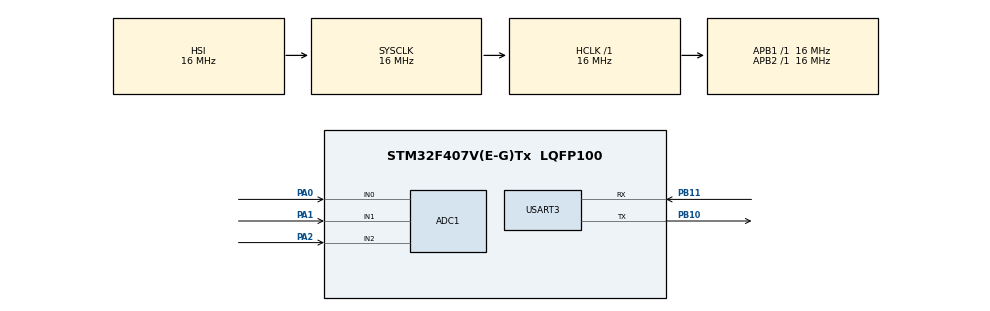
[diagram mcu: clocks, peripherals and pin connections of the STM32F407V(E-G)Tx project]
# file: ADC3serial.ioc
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ADC1.Channel-0\#ChannelRegularConversion=ADC_CHANNEL_0
ADC1.Channel-1\#ChannelRegularConversion=ADC_CHANNEL_1
ADC1.Channel-2\#ChannelRegularConversion=ADC_CHANNEL_2
ADC1.ContinuousConvMode=ENABLE
ADC1.DMAContinuousRequests=ENABLE
ADC1.NbrOfConversion=3
ADC1.NbrOfConversionFlag=1
ADC1.Rank-0\#ChannelRegularConversion=1
ADC1.Rank-1\#ChannelRegularConversion=2
ADC1.Rank-2\#ChannelRegularConversion=3
ADC1.SamplingTime-0\#ChannelRegularConversion=ADC_SAMPLETIME_144CYCLES
ADC1.SamplingTime-1\#ChannelRegularConversion=ADC_SAMPLETIME_144CYCLES
ADC1.SamplingTime-2\#ChannelRegularConversion=ADC_SAMPLETIME_144CYCLES
ADC1.ScanConvMode=ENABLE
ADC1.master=1
Dma.ADC1.0.Direction=DMA_PERIPH_TO_MEMORY
Dma.ADC1.0.FIFOMode=DMA_FIFOMODE_DISABLE
Dma.ADC1.0.Instance=DMA2_Stream0
Dma.ADC1.0.MemDataAlignment=DMA_MDATAALIGN_HALFWORD
Dma.ADC1.0.MemInc=DMA_MINC_ENABLE
Dma.ADC1.0.Mode=DMA_CIRCULAR
Dma.ADC1.0.PeriphDataAlignment=DMA_PDATAALIGN_HALFWORD
Dma.ADC1.0.PeriphInc=DMA_PINC_DISABLE
Dma.ADC1.0.Priority=DMA_PRIORITY_LOW
Dma.Request0=ADC1
Mcu.Family=STM32F4
Mcu.Name=STM32F407V(E-G)Tx
Mcu.Package=LQFP100
NVIC.DMA2_Stream0_IRQn=true\:0\:0\:false\:false\:true
NVIC.PriorityGroup=NVIC_PRIORITYGROUP_4
PA0-WKUP.Signal=ADCx_IN0
PA1.Signal=ADCx_IN1
PA2.Signal=ADCx_IN2
PB10.Mode=Asynchronous
PB10.Signal=USART3_TX
PB11.Mode=Asynchronous
PB11.Signal=USART3_RX
ProjectManager.HeapSize=0x200
ProjectManager.StackSize=0x400
ProjectManager.TargetToolchain=TrueSTUDIO
RCC.AHBFreq_Value=16000000
RCC.APB1Freq_Value=16000000
RCC.APB2Freq_Value=16000000
RCC.CortexFreq_Value=16000000
RCC.HSE_VALUE=25000000
RCC.HSI_VALUE=16000000
RCC.LSE_VALUE=32768
RCC.SYSCLKFreq_VALUE=16000000
RCC.VCOOutputFreq_Value=192000000
SH.ADCx_IN0.0=ADC1_IN0,IN0
SH.ADCx_IN1.0=ADC1_IN1,IN1
SH.ADCx_IN2.0=ADC1_IN2,IN2
USART3.VirtualMode=VM_ASYNC
board=ADC3serial

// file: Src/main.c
/**
  ******************************************************************************
  * File Name          : main.c
  * Description        : Main program body
  ******************************************************************************
  ** This notice applies to any and all portions of this file
  * that are not between comment pairs USER CODE BEGIN and
  * USER CODE END. Other portions of this file, whether
  * inserted by the user or by software development tools
  * are owned by their respective copyright owners.
  *
  * COPYRIGHT(c) 2017 STMicroelectronics
  *
  * Redistribution and use in source and binary forms, with or without modification,
  * are permitted provided that the following conditions are met:
  *   1. Redistributions of source code must retain the above copyright notice,
  *      this list of conditions and the following disclaimer.
  *   2. Redistributions in binary form must reproduce the above copyright notice,
  *      this list of conditions and the following disclaimer in the documentation
  *      and/or other materials provided with the distribution.
  *   3. Neither the name of STMicroelectronics nor the names of its contributors
  *      may be used to endorse or promote products derived from this software
  *      without specific prior written permission.
  *
  * THIS SOFTWARE IS PROVIDED BY THE COPYRIGHT HOLDERS AND CONTRIBUTORS "AS IS"
  * AND ANY EXPRESS OR IMPLIED WARRANTIES, INCLUDING, BUT NOT LIMITED TO, THE
  * IMPLIED WARRANTIES OF MERCHANTABILITY AND FITNESS FOR A PARTICULAR PURPOSE ARE
  * DISCLAIMED. IN NO EVENT SHALL THE COPYRIGHT HOLDER OR CONTRIBUTORS BE LIABLE
  * FOR ANY DIRECT, INDIRECT, INCIDENTAL, SPECIAL, EXEMPLARY, OR CONSEQUENTIAL
  * DAMAGES (INCLUDING, BUT NOT LIMITED TO, PROCUREMENT OF SUBSTITUTE GOODS OR
  * SERVICES; LOSS OF USE, DATA, OR PROFITS; OR BUSINESS INTERRUPTION) HOWEVER
  * CAUSED AND ON ANY THEORY OF LIABILITY, WHETHER IN CONTRACT, STRICT LIABILITY,
  * OR TORT (INCLUDING NEGLIGENCE OR OTHERWISE) ARISING IN ANY WAY OUT OF THE USE
  * OF THIS SOFTWARE, EVEN IF ADVISED OF THE POSSIBILITY OF SUCH DAMAGE.
  *
  ******************************************************************************
  */
#include "main.h"
#include "stm32f4xx_hal.h"
#include "adc.h"
#include "dma.h"
#include "usart.h"
#include "gpio.h"

/* USER CODE BEGIN Includes */
#include"stdio.h"
#include"string.h"

/* USER CODE END Includes */

/* USER CODE BEGIN PV */
/* Private variables ---------------------------------------------------------*/

/* USER CODE END PV */

void SystemClock_Config(void);

/* USER CODE BEGIN PFP */
/* Private function prototypes -----------------------------------------------*/

/* USER CODE END PFP */

/* USER CODE BEGIN 0 */
uint16_t lectura_adc[3];
/* USER CODE END 0 */

int main(void)
{

  /* MCU Configuration----------------------------------------------------------*/

  /* Reset of all peripherals, Initializes the Flash interface and the Systick. */
  HAL_Init();

  /* Configure the system clock */
  SystemClock_Config();

  /* Initialize all configured peripherals */
  MX_GPIO_Init();
  MX_DMA_Init();
  MX_ADC1_Init();
  MX_USART3_UART_Init();

  /* USER CODE BEGIN 2 */

  char buffer0[30];
  char buffer1[30];
  char buffer2[30];
  HAL_ADC_Start_DMA(&hadc1,(uint32_t*)lectura_adc,3);
  /* USER CODE END 2 */

  /* Infinite loop */
  while (1)
  {

  /* USER CODE BEGIN 3 */
	  HAL_ADC_Start(&hadc1);
	  	  double signal0=lectura_adc[0];
	  	  double signal1=lectura_adc[1];
	  	  double signal2=lectura_adc[2];
	  	  double valor0=signal0/1241;
	  	  double valor1=signal1/1241;
	  	  double valor2=signal2/1241;
	  	  sprintf(buffer0,"Canal1=%3.2f V\n\r",valor0);
	      HAL_UART_Transmit(&huart3,(uint8_t*)buffer0,(uint16_t)strlen(buffer0),(uint32_t)100);
	  	  sprintf(buffer1,"Canal2=%3.2f V\n\r",valor1);
	      HAL_UART_Transmit(&huart3,(uint8_t*)buffer1,(uint16_t)strlen(buffer1),(uint32_t)100);
	      sprintf(buffer2,"Canal3=%3.2f V\n\r\n",valor2);
	      HAL_UART_Transmit(&huart3,(uint8_t*)buffer2,(uint16_t)strlen(buffer2),(uint32_t)100);

  }

  /* USER CODE END 3 */

}

/** System Clock Configuration
*/
void SystemClock_Config(void)
{

  RCC_OscInitTypeDef RCC_OscInitStruct;
  RCC_ClkInitTypeDef RCC_ClkInitStruct;

    /**Configure the main internal regulator output voltage
    */
  __HAL_RCC_PWR_CLK_ENABLE();

  __HAL_PWR_VOLTAGESCALING_CONFIG(PWR_REGULATOR_VOLTAGE_SCALE1);

    /**Initializes the CPU, AHB and APB busses clocks
    */
  RCC_OscInitStruct.OscillatorType = RCC_OSCILLATORTYPE_HSI;
  RCC_OscInitStruct.HSIState = RCC_HSI_ON;
  RCC_OscInitStruct.HSICalibrationValue = 16;
  RCC_OscInitStruct.PLL.PLLState = RCC_PLL_NONE;
  if (HAL_RCC_OscConfig(&RCC_OscInitStruct) != HAL_OK)
  {
    _Error_Handler(__FILE__, __LINE__);
  }

    /**Initializes the CPU, AHB and APB busses clocks
    */
  RCC_ClkInitStruct.ClockType = RCC_CLOCKTYPE_HCLK|RCC_CLOCKTYPE_SYSCLK
                              |RCC_CLOCKTYPE_PCLK1|RCC_CLOCKTYPE_PCLK2;
  RCC_ClkInitStruct.SYSCLKSource = RCC_SYSCLKSOURCE_HSI;
  RCC_ClkInitStruct.AHBCLKDivider = RCC_SYSCLK_DIV1;
  RCC_ClkInitStruct.APB1CLKDivider = RCC_HCLK_DIV1;
  RCC_ClkInitStruct.APB2CLKDivider = RCC_HCLK_DIV1;

  if (HAL_RCC_ClockConfig(&RCC_ClkInitStruct, FLASH_LATENCY_0) != HAL_OK)
  {
    _Error_Handler(__FILE__, __LINE__);
  }

    /**Configure the Systick interrupt time
    */
  HAL_SYSTICK_Config(HAL_RCC_GetHCLKFreq()/1000);

    /**Configure the Systick
    */
  HAL_SYSTICK_CLKSourceConfig(SYSTICK_CLKSOURCE_HCLK);

  /* SysTick_IRQn interrupt configuration */
  HAL_NVIC_SetPriority(SysTick_IRQn, 0, 0);
}

void _Error_Handler(char * file, int line)
{
  while(1)
  {
  }
}

/************************ (C) COPYRIGHT STMicroelectronics *****END OF FILE****/
